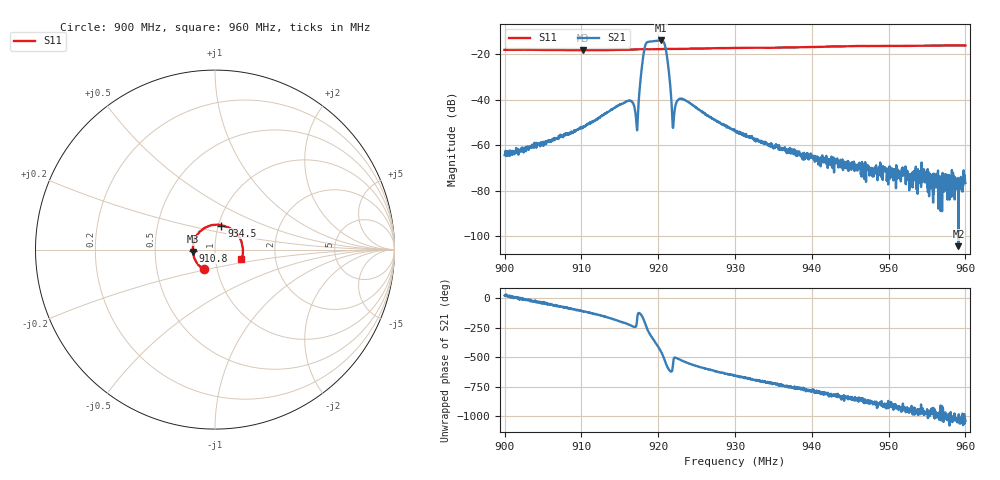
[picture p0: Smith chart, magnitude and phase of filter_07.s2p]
!Agilent Technologies,E5071C,MY46214392,A.11.36
!Date: Thu Feb 26 21:24:06 2026
!Data & Calibration Information:
!Freq	S11:NONE(--)	S21:NONE(--)	S12:NONE(--)	S22:NONE(--)
!PortZ  Port1:50+j0  Port2:50+j0
!Above PortZ is port z conversion or system Z0 setting when saving the data.
!When reading, reference impedance value at option line is always used.
# Hz S dB R 50
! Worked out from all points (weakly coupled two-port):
!   1601 points, 900 MHz to 960 MHz, reference 50 ohm
!   highest |S21| = -13.90 dB at 920.3 MHz (marker M1); lowest = -104.4 dB at 959.1 MHz (marker M2)
!   lowest |S11| = -18.2 dB at 910.2 MHz (marker M3), VSWR 1.28, Z = 39.1 - j0.949 ohm
!   |S11| at or under -10 dB: start of sweep to end of sweep
!   S12 and S22 are empty: the file has one direction only
!   S11 on the Smith chart (normalised r, x): 900 MHz: 0.86, -0.19; 910.8 MHz: 0.78, -0.01; 934.5 MHz: 1.04, +0.28; 960 MHz: 1.34, -0.14
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9e8  -18.04 -119.8  -64.35 22.6  -200.00 0.0  -200.00 0.0
9.100125e8  -18.18 -173.5  -52.30 -107.9  -200.00 0.0  -200.00 0.0
9.102e8  -18.20 -174.4  -51.75 -113.0  -200.00 0.0  -200.00 0.0
9.108e8  -18.13 -177.5  -50.92 -120.5  -200.00 0.0  -200.00 0.0
9.160875e8  -17.98 156.6  -40.41 138.7  -200.00 0.0  -200.00 0.0
9.17175e8  -17.85 151.2  -50.89 136.1  -200.00 0.0  -200.00 0.0
9.179625e8  -17.76 147.1  -23.16 -160.4  -200.00 0.0  -200.00 0.0
9.183375e8  -17.75 144.8  -15.84 137.1  -200.00 0.0  -200.00 0.0
9.19275e8  -17.80 140.5  -14.27 18.5  -200.00 0.0  -200.00 0.0
9.20025e8  -17.77 137.0  -13.97 -54.7  -200.00 0.0  -200.00 0.0
9.20325e8  -17.76 135.7  -13.90 -87.7  -200.00 0.0  -200.00 0.0
9.210375e8  -17.65 132.5  -18.60 160.5  -200.00 0.0  -200.00 0.0
9.2175e8  -17.62 128.7  -42.16 98.3  -200.00 0.0  -200.00 0.0
9.220125e8  -17.62 127.4  -49.07 -155.4  -200.00 0.0  -200.00 0.0
9.225375e8  -17.64 125.1  -40.21 -152.1  -200.00 0.0  -200.00 0.0
9.2325e8  -17.62 122.2  -39.83 -173.8  -200.00 0.0  -200.00 0.0
9.3e8  -17.20 92.8  -53.61 62.4  -200.00 0.0  -200.00 0.0
9.344625e8  -17.14 74.9  -60.10 -0.5  -200.00 0.0  -200.00 0.0
9.400125e8  -16.78 54.9  -65.51 -58.0  -200.00 0.0  -200.00 0.0
9.50025e8  -16.26 18.0  -72.39 148.2  -200.00 0.0  -200.00 0.0
9.591e8  -16.10 -15.6  -104.40 88.6  -200.00 0.0  -200.00 0.0
9.6e8  -16.13 -19.1  -76.64 39.7  -200.00 0.0  -200.00 0.0
